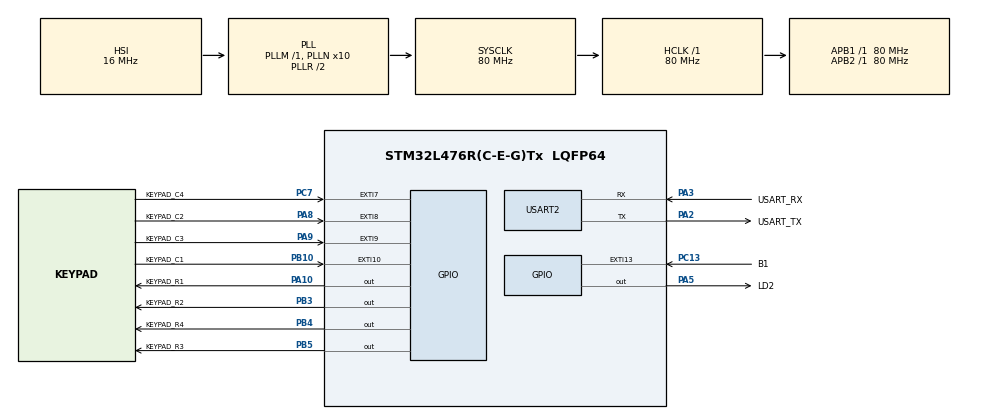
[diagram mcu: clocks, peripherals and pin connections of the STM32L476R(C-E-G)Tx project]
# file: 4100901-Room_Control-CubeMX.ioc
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Mcu.Family=STM32L4
Mcu.Name=STM32L476R(C-E-G)Tx
Mcu.Package=LQFP64
NVIC.EXTI15_10_IRQn=true\:0\:0\:false\:false\:true\:true\:true\:true
NVIC.EXTI9_5_IRQn=true\:0\:0\:false\:false\:true\:true\:true\:true
NVIC.PriorityGroup=NVIC_PRIORITYGROUP_4
NVIC.USART2_IRQn=true\:0\:0\:false\:false\:true\:true\:true\:true
PA10.GPIO_Label=KEYPAD_R1
PA10.Signal=GPIO_Output
PA13\ (JTMS-SWDIO).GPIO_Label=TMS
PA13\ (JTMS-SWDIO).Mode=Serial_Wire
PA13\ (JTMS-SWDIO).Signal=SYS_JTMS-SWDIO
PA14\ (JTCK-SWCLK).GPIO_Label=TCK
PA14\ (JTCK-SWCLK).Mode=Serial_Wire
PA14\ (JTCK-SWCLK).Signal=SYS_JTCK-SWCLK
PA2.GPIO_Label=USART_TX
PA2.GPIO_Mode=GPIO_MODE_AF_PP
PA2.GPIO_PuPd=GPIO_NOPULL
PA2.GPIO_Speed=GPIO_SPEED_FREQ_VERY_HIGH
PA2.Mode=Asynchronous
PA2.Signal=USART2_TX
PA3.GPIO_Label=USART_RX
PA3.GPIO_Mode=GPIO_MODE_AF_PP
PA3.GPIO_PuPd=GPIO_NOPULL
PA3.GPIO_Speed=GPIO_SPEED_FREQ_VERY_HIGH
PA3.Mode=Asynchronous
PA3.Signal=USART2_RX
PA5.GPIO_Label=LD2
PA5.GPIO_ModeDefaultOutputPP=GPIO_MODE_OUTPUT_PP
PA5.GPIO_PuPd=GPIO_NOPULL
PA5.GPIO_Speed=GPIO_SPEED_FREQ_LOW
PA5.Signal=GPIO_Output
PA8.GPIO_Label=KEYPAD_C2
PA8.GPIO_ModeDefaultEXTI=GPIO_MODE_IT_FALLING
PA8.GPIO_PuPd=GPIO_PULLUP
PA8.Signal=GPXTI8
PA9.GPIO_Label=KEYPAD_C3
PA9.GPIO_ModeDefaultEXTI=GPIO_MODE_IT_FALLING
PA9.GPIO_PuPd=GPIO_PULLUP
PA9.Signal=GPXTI9
PB10.GPIO_Label=KEYPAD_C1
PB10.GPIO_ModeDefaultEXTI=GPIO_MODE_IT_FALLING
PB10.GPIO_PuPd=GPIO_PULLUP
PB10.Signal=GPXTI10
PB3\ (JTDO-TRACESWO).GPIO_Label=KEYPAD_R2
PB3\ (JTDO-TRACESWO).Signal=GPIO_Output
PB4\ (NJTRST).GPIO_Label=KEYPAD_R4
PB4\ (NJTRST).Signal=GPIO_Output
PB5.GPIO_Label=KEYPAD_R3
PB5.Signal=GPIO_Output
PB8.Signal=I2C1_SCL
PB9.Signal=I2C1_SDA
PC13.GPIO_Label=B1
PC13.GPIO_ModeDefaultEXTI=GPIO_MODE_IT_FALLING
PC13.GPIO_PuPd=GPIO_NOPULL
PC13.Signal=GPXTI13
PC14-OSC32_IN\ (PC14).Mode=LSE-External-Oscillator
PC14-OSC32_IN\ (PC14).Signal=RCC_OSC32_IN
PC15-OSC32_OUT\ (PC15).Mode=LSE-External-Oscillator
PC15-OSC32_OUT\ (PC15).Signal=RCC_OSC32_OUT
PC7.GPIO_Label=KEYPAD_C4
PC7.GPIO_ModeDefaultEXTI=GPIO_MODE_IT_FALLING
PC7.GPIO_PuPd=GPIO_PULLUP
PC7.Signal=GPXTI7
PH0-OSC_IN\ (PH0).Signal=RCC_OSC_IN
PH1-OSC_OUT\ (PH1).Signal=RCC_OSC_OUT
ProjectManager.HeapSize=0x200
ProjectManager.StackSize=0x400
ProjectManager.TargetToolchain=CMake
RCC.ADCFreq_Value=64000000
RCC.AHBFreq_Value=80000000
RCC.APB1Freq_Value=80000000
RCC.APB1TimFreq_Value=80000000
RCC.APB2Freq_Value=80000000
RCC.APB2TimFreq_Value=80000000
RCC.CortexFreq_Value=80000000
RCC.HCLKFreq_Value=80000000
RCC.HSE_VALUE=8000000
RCC.HSI_VALUE=16000000
RCC.MSI_VALUE=4000000
RCC.PLLN=10
RCC.PLLSourceVirtual=RCC_PLLSOURCE_HSI
RCC.PREFETCH_ENABLE=1
RCC.SYSCLKFreq_VALUE=80000000
RCC.SYSCLKSource=RCC_SYSCLKSOURCE_PLLCLK
RCC.USBFreq_Value=64000000
RCC.VCOOutputFreq_Value=160000000
USART2.VirtualMode-Asynchronous=VM_ASYNC
board=NUCLEO-L476RG

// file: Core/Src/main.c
/* USER CODE BEGIN Header */
/**
  ******************************************************************************
  * @file           : main.c
  * @brief          : Main program body
  ******************************************************************************
  * @attention
  *
  * Copyright (c) 2025 STMicroelectronics.
  * All rights reserved.
  *
  * This software is licensed under terms that can be found in the LICENSE file
  * in the root directory of this software component.
  * If no LICENSE file comes with this software, it is provided AS-IS.
  *
  ******************************************************************************
  */
/* USER CODE END Header */
#include "main.h"

/* USER CODE BEGIN Includes */
#include "led_driver.h"
#include "ring_buffer.h"
#include "keypad_driver.h"
#include <stdio.h>
#include <string.h>

/* USER CODE END Includes */

/* USER CODE BEGIN PM */
// --- Variables para el LED ---
led_handle_t user_led = { .port = LD2_GPIO_Port, .pin = LD2_Pin };

// --- Variables para el Teclado Hexadecimal ---
keypad_handle_t keypad = {
    .row_ports = {KEYPAD_R1_GPIO_Port, KEYPAD_R2_GPIO_Port, KEYPAD_R3_GPIO_Port, KEYPAD_R4_GPIO_Port},
    .row_pins  = {KEYPAD_R1_Pin, KEYPAD_R2_Pin, KEYPAD_R3_Pin, KEYPAD_R4_Pin},
    .col_ports = {KEYPAD_C1_GPIO_Port, KEYPAD_C2_GPIO_Port, KEYPAD_C3_GPIO_Port, KEYPAD_C4_GPIO_Port},
    .col_pins  = {KEYPAD_C1_Pin, KEYPAD_C2_Pin, KEYPAD_C3_Pin, KEYPAD_C4_Pin}
};

#define KEYPAD_BUFFER_LEN 16
uint8_t keypad_buffer[KEYPAD_BUFFER_LEN];
ring_buffer_t keypad_rb;

// --- Variables para el Control de Acceso ---
#define PASSWORD_LEN 4
const char SECRET_PASSWORD[PASSWORD_LEN + 1] = "1337"; // Contraseña de 4 dígitos + terminador nulo
char input_buffer[PASSWORD_LEN + 1];
uint8_t input_count = 0;

/* USER CODE END PM */

UART_HandleTypeDef huart2;

void SystemClock_Config(void);
static void MX_GPIO_Init(void);
static void MX_USART2_UART_Init(void);

/* USER CODE BEGIN 0 */
/**
 * @brief Redefinición de _write para que printf envíe datos por UART2.
 */
int _write(int file, char *ptr, int len) {
    HAL_UART_Transmit(&huart2, (uint8_t*)ptr, len, HAL_MAX_DELAY);
    return len;
}

/**
 * @brief Callback que se ejecuta cuando ocurre una interrupción externa (EXTI).
 * @param GPIO_Pin: El pin que ha causado la interrupción.
 */
void HAL_GPIO_EXTI_Callback(uint16_t GPIO_Pin) {
    // Escaneamos el teclado para identificar la tecla presionada
    char key = keypad_scan(&keypad, GPIO_Pin);

    // Si se detectó una tecla válida, la escribimos en el buffer circular.
    if (key != '\0') {
        ring_buffer_write(&keypad_rb, (uint8_t)key);
    }
  }

/* USER CODE END 0 */

int main(void)
{

  /* MCU Configuration--------------------------------------------------------*/

  /* Reset of all peripherals, Initializes the Flash interface and the Systick. */
  HAL_Init();

  /* Configure the system clock */
  SystemClock_Config();

  /* Initialize all configured peripherals */
  MX_GPIO_Init();
  MX_USART2_UART_Init();
  /* USER CODE BEGIN 2 */
  // Inicializar el LED
  led_init(&user_led);

  // Inicializar el buffer circular para el teclado
  ring_buffer_init(&keypad_rb, keypad_buffer, KEYPAD_BUFFER_LEN);

  // Inicializar el driver del teclado
  keypad_init(&keypad);

  printf("Sistema de Control de Acceso Listo.\r\n");
  printf("Por favor, ingrese la clave de %d digitos:\r\n", PASSWORD_LEN);

  /* USER CODE END 2 */

  /* Infinite loop */
  /* USER CODE BEGIN WHILE */

  while (1) {
    uint8_t key_from_buffer;

    // Comprobar si hay una nueva tecla en el buffer
    if (ring_buffer_read(&keypad_rb, &key_from_buffer)) {
        printf("Tecla: %c\r\n", (char)key_from_buffer);

        if (input_count < PASSWORD_LEN) {
            input_buffer[input_count++] = (char)key_from_buffer;
        }

        // Si ya se han introducido 4 dígitos, verificar la clave
        if (input_count == PASSWORD_LEN) {
            input_buffer[input_count] = '\0'; // Añadir terminador nulo para usar strcmp

            printf("Clave ingresada: %s\r\n", input_buffer);

            // Comparar la clave ingresada con la secreta
            if (strcmp(input_buffer, SECRET_PASSWORD) == 0) {
                // Clave correcta: encender el LED permanentemente
                printf("Acceso Concedido.\r\n");
                led_on(&user_led);
            } else {
                // Clave incorrecta: parpadear el LED 3 veces
                printf("Acceso Denegado.\r\n");
                for (int i = 0; i < 3; i++) {
                    led_on(&user_led);
                    HAL_Delay(150);
                    led_off(&user_led);
                    HAL_Delay(150);
                }
            }

            // Reiniciar el buffer para el siguiente intento
            input_count = 0;
            printf("\r\nIngrese la clave de nuevo:\r\n");
        }
    }

    /* USER CODE END WHILE */

  }
}

void SystemClock_Config(void)
{
  RCC_OscInitTypeDef RCC_OscInitStruct = {0};
  RCC_ClkInitTypeDef RCC_ClkInitStruct = {0};

  /** Configure the main internal regulator output voltage
  */
  if (HAL_PWREx_ControlVoltageScaling(PWR_REGULATOR_VOLTAGE_SCALE1) != HAL_OK)
  {
    Error_Handler();
  }

  /** Initializes the RCC Oscillators according to the specified parameters
  * in the RCC_OscInitTypeDef structure.
  */
  RCC_OscInitStruct.OscillatorType = RCC_OSCILLATORTYPE_HSI;
  RCC_OscInitStruct.HSIState = RCC_HSI_ON;
  RCC_OscInitStruct.HSICalibrationValue = RCC_HSICALIBRATION_DEFAULT;
  RCC_OscInitStruct.PLL.PLLState = RCC_PLL_ON;
  RCC_OscInitStruct.PLL.PLLSource = RCC_PLLSOURCE_HSI;
  RCC_OscInitStruct.PLL.PLLM = 1;
  RCC_OscInitStruct.PLL.PLLN = 10;
  RCC_OscInitStruct.PLL.PLLP = RCC_PLLP_DIV7;
  RCC_OscInitStruct.PLL.PLLQ = RCC_PLLQ_DIV2;
  RCC_OscInitStruct.PLL.PLLR = RCC_PLLR_DIV2;
  if (HAL_RCC_OscConfig(&RCC_OscInitStruct) != HAL_OK)
  {
    Error_Handler();
  }

  /** Initializes the CPU, AHB and APB buses clocks
  */
  RCC_ClkInitStruct.ClockType = RCC_CLOCKTYPE_HCLK|RCC_CLOCKTYPE_SYSCLK
                              |RCC_CLOCKTYPE_PCLK1|RCC_CLOCKTYPE_PCLK2;
  RCC_ClkInitStruct.SYSCLKSource = RCC_SYSCLKSOURCE_PLLCLK;
  RCC_ClkInitStruct.AHBCLKDivider = RCC_SYSCLK_DIV1;
  RCC_ClkInitStruct.APB1CLKDivider = RCC_HCLK_DIV1;
  RCC_ClkInitStruct.APB2CLKDivider = RCC_HCLK_DIV1;

  if (HAL_RCC_ClockConfig(&RCC_ClkInitStruct, FLASH_LATENCY_4) != HAL_OK)
  {
    Error_Handler();
  }
}

static void MX_USART2_UART_Init(void)
{

  huart2.Instance = USART2;
  huart2.Init.BaudRate = 115200;
  huart2.Init.WordLength = UART_WORDLENGTH_8B;
  huart2.Init.StopBits = UART_STOPBITS_1;
  huart2.Init.Parity = UART_PARITY_NONE;
  huart2.Init.Mode = UART_MODE_TX_RX;
  huart2.Init.HwFlowCtl = UART_HWCONTROL_NONE;
  huart2.Init.OverSampling = UART_OVERSAMPLING_16;
  huart2.Init.OneBitSampling = UART_ONE_BIT_SAMPLE_DISABLE;
  huart2.AdvancedInit.AdvFeatureInit = UART_ADVFEATURE_NO_INIT;
  if (HAL_UART_Init(&huart2) != HAL_OK)
  {
    Error_Handler();
  }

}

static void MX_GPIO_Init(void)
{
  GPIO_InitTypeDef GPIO_InitStruct = {0};

  /* GPIO Ports Clock Enable */
  __HAL_RCC_GPIOC_CLK_ENABLE();
  __HAL_RCC_GPIOH_CLK_ENABLE();
  __HAL_RCC_GPIOA_CLK_ENABLE();
  __HAL_RCC_GPIOB_CLK_ENABLE();

  /*Configure GPIO pin Output Level */
  HAL_GPIO_WritePin(GPIOA, LD2_Pin|KEYPAD_R1_Pin, GPIO_PIN_RESET);

  /*Configure GPIO pin Output Level */
  HAL_GPIO_WritePin(GPIOB, KEYPAD_R2_Pin|KEYPAD_R4_Pin|KEYPAD_R3_Pin, GPIO_PIN_RESET);

  /*Configure GPIO pin : B1_Pin */
  GPIO_InitStruct.Pin = B1_Pin;
  GPIO_InitStruct.Mode = GPIO_MODE_IT_FALLING;
  GPIO_InitStruct.Pull = GPIO_NOPULL;
  HAL_GPIO_Init(B1_GPIO_Port, &GPIO_InitStruct);

  /*Configure GPIO pins : LD2_Pin KEYPAD_R1_Pin */
  GPIO_InitStruct.Pin = LD2_Pin|KEYPAD_R1_Pin;
  GPIO_InitStruct.Mode = GPIO_MODE_OUTPUT_PP;
  GPIO_InitStruct.Pull = GPIO_NOPULL;
  GPIO_InitStruct.Speed = GPIO_SPEED_FREQ_LOW;
  HAL_GPIO_Init(GPIOA, &GPIO_InitStruct);

  /*Configure GPIO pin : KEYPAD_C1_Pin */
  GPIO_InitStruct.Pin = KEYPAD_C1_Pin;
  GPIO_InitStruct.Mode = GPIO_MODE_IT_FALLING;
  GPIO_InitStruct.Pull = GPIO_PULLUP;
  HAL_GPIO_Init(KEYPAD_C1_GPIO_Port, &GPIO_InitStruct);

  /*Configure GPIO pin : KEYPAD_C4_Pin */
  GPIO_InitStruct.Pin = KEYPAD_C4_Pin;
  GPIO_InitStruct.Mode = GPIO_MODE_IT_FALLING;
  GPIO_InitStruct.Pull = GPIO_PULLUP;
  HAL_GPIO_Init(KEYPAD_C4_GPIO_Port, &GPIO_InitStruct);

  /*Configure GPIO pins : KEYPAD_C2_Pin KEYPAD_C3_Pin */
  GPIO_InitStruct.Pin = KEYPAD_C2_Pin|KEYPAD_C3_Pin;
  GPIO_InitStruct.Mode = GPIO_MODE_IT_FALLING;
  GPIO_InitStruct.Pull = GPIO_PULLUP;
  HAL_GPIO_Init(GPIOA, &GPIO_InitStruct);

  /*Configure GPIO pins : KEYPAD_R2_Pin KEYPAD_R4_Pin KEYPAD_R3_Pin */
  GPIO_InitStruct.Pin = KEYPAD_R2_Pin|KEYPAD_R4_Pin|KEYPAD_R3_Pin;
  GPIO_InitStruct.Mode = GPIO_MODE_OUTPUT_PP;
  GPIO_InitStruct.Pull = GPIO_NOPULL;
  GPIO_InitStruct.Speed = GPIO_SPEED_FREQ_LOW;
  HAL_GPIO_Init(GPIOB, &GPIO_InitStruct);

  /*Configure GPIO pins : PB8 PB9 */
  GPIO_InitStruct.Pin = GPIO_PIN_8|GPIO_PIN_9;
  GPIO_InitStruct.Mode = GPIO_MODE_AF_OD;
  GPIO_InitStruct.Pull = GPIO_NOPULL;
  GPIO_InitStruct.Speed = GPIO_SPEED_FREQ_VERY_HIGH;
  GPIO_InitStruct.Alternate = GPIO_AF4_I2C1;
  HAL_GPIO_Init(GPIOB, &GPIO_InitStruct);

  /* EXTI interrupt init*/
  HAL_NVIC_SetPriority(EXTI9_5_IRQn, 0, 0);
  HAL_NVIC_EnableIRQ(EXTI9_5_IRQn);

  HAL_NVIC_SetPriority(EXTI15_10_IRQn, 0, 0);
  HAL_NVIC_EnableIRQ(EXTI15_10_IRQn);

}

void Error_Handler(void)
{
  __disable_irq();
  while (1)
  {
  }
}
